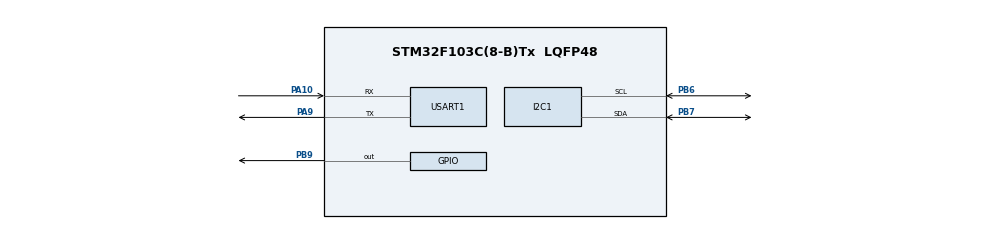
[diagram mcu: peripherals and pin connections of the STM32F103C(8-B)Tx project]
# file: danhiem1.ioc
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FREERTOS.Tasks01=defaultTask,0,128,StartDefaultTask,Default,NULL,Dynamic,NULL,NULL
Mcu.Family=STM32F1
Mcu.Name=STM32F103C(8-B)Tx
Mcu.Package=LQFP48
NVIC.PriorityGroup=NVIC_PRIORITYGROUP_4
NVIC.TIM4_IRQn=true\:15\:0\:false\:false\:true\:false\:false\:true\:true
NVIC.TimeBase=TIM4_IRQn
NVIC.TimeBaseIP=TIM4
PA10.Mode=Asynchronous
PA10.Signal=USART1_RX
PA13.Mode=Serial_Wire
PA13.Signal=SYS_JTMS-SWDIO
PA14.Mode=Serial_Wire
PA14.Signal=SYS_JTCK-SWCLK
PA9.Mode=Asynchronous
PA9.Signal=USART1_TX
PB6.Mode=I2C
PB6.Signal=I2C1_SCL
PB7.Mode=I2C
PB7.Signal=I2C1_SDA
PB9.Signal=GPIO_Output
ProjectManager.HeapSize=0x200
ProjectManager.StackSize=0x400
ProjectManager.TargetToolchain=STM32CubeIDE
RCC.APB1Freq_Value=8000000
RCC.APB2Freq_Value=8000000
USART1.VirtualMode=VM_ASYNC
VP_FREERTOS_VS_CMSIS_V1.Mode=CMSIS_V1
VP_SYS_VS_tim4.Mode=TIM4
VP_TIM1_VS_ClockSourceINT.Mode=Internal
board=custom

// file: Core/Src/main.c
/* USER CODE BEGIN Header */
/**
  ******************************************************************************
  * @file           : main.c
  * @brief          : Main program body
  ******************************************************************************
  * @attention
  *
  * Copyright (c) 2025 STMicroelectronics.
  * All rights reserved.
  *
  * This software is licensed under terms that can be found in the LICENSE file
  * in the root directory of this software component.
  * If no LICENSE file comes with this software, it is provided AS-IS.
  *
  ******************************************************************************
  */
/* USER CODE END Header */
#include "main.h"
#include "cmsis_os.h"

/* USER CODE BEGIN Includes */
#include "dht11.h"
#include "lcd_i2c.h"
#include<stdio.h>
#include"string.h"

/* USER CODE END Includes */

I2C_HandleTypeDef hi2c1;

TIM_HandleTypeDef htim1;

UART_HandleTypeDef huart1;

osThreadId defaultTaskHandle;
/* USER CODE BEGIN PV */
osThreadId Task_DisplayLCDHandle;
osThreadId Task_TransmitUARTHandle;
DHT11_Data dht11_data;
/* USER CODE END PV */

void SystemClock_Config(void);
static void MX_GPIO_Init(void);
static void MX_I2C1_Init(void);
static void MX_TIM1_Init(void);
static void MX_USART1_UART_Init(void);
void StartDefaultTask(void const * argument);
void Task_DisplayLCD(void const*argument);
void Task_TransmitUART(void const*argument);

/* USER CODE BEGIN 0 */
uint32_t Tp = 1000;
uint16_t TempC, Humidity;
uint8_t t_flag, h_flag;
float Tem, Hum;
/* USER CODE END 0 */

int main(void)
{

  /* MCU Configuration--------------------------------------------------------*/

  /* Reset of all peripherals, Initializes the Flash interface and the Systick. */
  HAL_Init();

  /* Configure the system clock */
  SystemClock_Config();

  /* Initialize all configured peripherals */
  MX_GPIO_Init();
  MX_I2C1_Init();
  MX_TIM1_Init();
  MX_USART1_UART_Init();
  /* USER CODE BEGIN 2 */
  lcd_init();
  /* USER CODE END 2 */

  /* Create the thread(s) */
  /* definition and creation of defaultTask */
  osThreadDef(defaultTask, StartDefaultTask, osPriorityNormal, 0, 128);
  defaultTaskHandle = osThreadCreate(osThread(defaultTask), NULL);

  osThreadDef(DisplayLCD, Task_DisplayLCD, osPriorityNormal, 0, 128);
  osThreadCreate(osThread(DisplayLCD), NULL);

  osThreadDef(TransmitUART, Task_TransmitUART, osPriorityNormal, 0, 128);
  osThreadCreate(osThread(TransmitUART), NULL);

  /* Start scheduler */
  osKernelStart();

  /* We should never get here as control is now taken by the scheduler */

  /* Infinite loop */
  while (1)
  {

  }
}

void SystemClock_Config(void)
{
  RCC_OscInitTypeDef RCC_OscInitStruct = {0};
  RCC_ClkInitTypeDef RCC_ClkInitStruct = {0};

  /** Initializes the RCC Oscillators according to the specified parameters
  * in the RCC_OscInitTypeDef structure.
  */
  RCC_OscInitStruct.OscillatorType = RCC_OSCILLATORTYPE_HSI;
  RCC_OscInitStruct.HSIState = RCC_HSI_ON;
  RCC_OscInitStruct.HSICalibrationValue = RCC_HSICALIBRATION_DEFAULT;
  RCC_OscInitStruct.PLL.PLLState = RCC_PLL_NONE;
  if (HAL_RCC_OscConfig(&RCC_OscInitStruct) != HAL_OK)
  {
    Error_Handler();
  }

  /** Initializes the CPU, AHB and APB buses clocks
  */
  RCC_ClkInitStruct.ClockType = RCC_CLOCKTYPE_HCLK|RCC_CLOCKTYPE_SYSCLK
                              |RCC_CLOCKTYPE_PCLK1|RCC_CLOCKTYPE_PCLK2;
  RCC_ClkInitStruct.SYSCLKSource = RCC_SYSCLKSOURCE_HSI;
  RCC_ClkInitStruct.AHBCLKDivider = RCC_SYSCLK_DIV1;
  RCC_ClkInitStruct.APB1CLKDivider = RCC_HCLK_DIV1;
  RCC_ClkInitStruct.APB2CLKDivider = RCC_HCLK_DIV1;

  if (HAL_RCC_ClockConfig(&RCC_ClkInitStruct, FLASH_LATENCY_0) != HAL_OK)
  {
    Error_Handler();
  }
}

static void MX_I2C1_Init(void)
{

  hi2c1.Instance = I2C1;
  hi2c1.Init.ClockSpeed = 100000;
  hi2c1.Init.DutyCycle = I2C_DUTYCYCLE_2;
  hi2c1.Init.OwnAddress1 = 0;
  hi2c1.Init.AddressingMode = I2C_ADDRESSINGMODE_7BIT;
  hi2c1.Init.DualAddressMode = I2C_DUALADDRESS_DISABLE;
  hi2c1.Init.OwnAddress2 = 0;
  hi2c1.Init.GeneralCallMode = I2C_GENERALCALL_DISABLE;
  hi2c1.Init.NoStretchMode = I2C_NOSTRETCH_DISABLE;
  if (HAL_I2C_Init(&hi2c1) != HAL_OK)
  {
    Error_Handler();
  }

}

static void MX_TIM1_Init(void)
{

  TIM_ClockConfigTypeDef sClockSourceConfig = {0};
  TIM_MasterConfigTypeDef sMasterConfig = {0};

  htim1.Instance = TIM1;
  htim1.Init.Prescaler = 0;
  htim1.Init.CounterMode = TIM_COUNTERMODE_UP;
  htim1.Init.Period = 65535;
  htim1.Init.ClockDivision = TIM_CLOCKDIVISION_DIV1;
  htim1.Init.RepetitionCounter = 0;
  htim1.Init.AutoReloadPreload = TIM_AUTORELOAD_PRELOAD_DISABLE;
  if (HAL_TIM_Base_Init(&htim1) != HAL_OK)
  {
    Error_Handler();
  }
  sClockSourceConfig.ClockSource = TIM_CLOCKSOURCE_INTERNAL;
  if (HAL_TIM_ConfigClockSource(&htim1, &sClockSourceConfig) != HAL_OK)
  {
    Error_Handler();
  }
  sMasterConfig.MasterOutputTrigger = TIM_TRGO_RESET;
  sMasterConfig.MasterSlaveMode = TIM_MASTERSLAVEMODE_DISABLE;
  if (HAL_TIMEx_MasterConfigSynchronization(&htim1, &sMasterConfig) != HAL_OK)
  {
    Error_Handler();
  }

}

static void MX_USART1_UART_Init(void)
{

  huart1.Instance = USART1;
  huart1.Init.BaudRate = 115200;
  huart1.Init.WordLength = UART_WORDLENGTH_8B;
  huart1.Init.StopBits = UART_STOPBITS_1;
  huart1.Init.Parity = UART_PARITY_NONE;
  huart1.Init.Mode = UART_MODE_TX_RX;
  huart1.Init.HwFlowCtl = UART_HWCONTROL_NONE;
  huart1.Init.OverSampling = UART_OVERSAMPLING_16;
  if (HAL_UART_Init(&huart1) != HAL_OK)
  {
    Error_Handler();
  }

}

static void MX_GPIO_Init(void)
{
  GPIO_InitTypeDef GPIO_InitStruct = {0};

  /* GPIO Ports Clock Enable */
  __HAL_RCC_GPIOA_CLK_ENABLE();
  __HAL_RCC_GPIOB_CLK_ENABLE();

  /*Configure GPIO pin Output Level */
  HAL_GPIO_WritePin(GPIOB, GPIO_PIN_9, GPIO_PIN_RESET);

  /*Configure GPIO pin : PB9 */
  GPIO_InitStruct.Pin = GPIO_PIN_9;
  GPIO_InitStruct.Mode = GPIO_MODE_OUTPUT_PP;
  GPIO_InitStruct.Pull = GPIO_NOPULL;
  GPIO_InitStruct.Speed = GPIO_SPEED_FREQ_LOW;
  HAL_GPIO_Init(GPIOB, &GPIO_InitStruct);

}

void StartDefaultTask(void const * argument)
{
  /* USER CODE BEGIN 5 */
  /* Infinite loop */
  for(;;)
  {
	  if (DHT11_Read(&dht11_data) == 0) {
	              printf("DHT11 Read: Temp=%d, Humidity=%d\n", dht11_data.temperature, dht11_data.humidity);
	          } else {
	              printf("DHT11 Error\n");
	          }
	          osDelay(2000); // Delay 2s
  }
  /* USER CODE END 5 */
}

void Task_DisplayLCD(void const *argument) {
	lcd_goto_XY(1,0);
		lcd_send_string("Temperature: ");
		lcd_send_number(TempC);
		lcd_goto_XY(2,0);
		lcd_send_string("Humidity: ");
		lcd_send_number(Humidity);
		printf("Temperature: %d\n\r", TempC);
		printf("Humidity: %d\n\r", Humidity);

		HAL_Delay(Tp);
		h_flag = 0;
    }

void Task_TransmitUART(void const *argument) {
    char uart_buffer[32];
    for (;;) {
        sprintf(uart_buffer, "Temp=%dC, Humidity=%d%%\n", dht11_data.temperature, dht11_data.humidity);
        HAL_UART_Transmit(&huart1, (uint8_t *)uart_buffer, strlen(uart_buffer), HAL_MAX_DELAY);
        osDelay(2000); // Delay 2s
    }
}

void HAL_TIM_PeriodElapsedCallback(TIM_HandleTypeDef *htim)
{
  if (htim->Instance == TIM4) {
    HAL_IncTick();
  }
}

void Error_Handler(void)
{
  __disable_irq();
  while (1)
  {
  }
}
